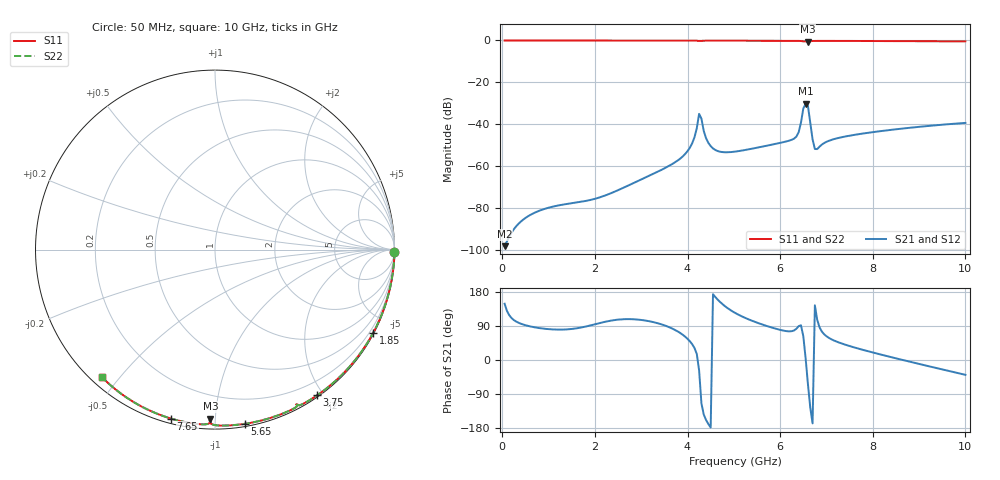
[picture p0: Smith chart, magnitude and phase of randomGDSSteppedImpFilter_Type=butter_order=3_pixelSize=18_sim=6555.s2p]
! freq	dB(S11)	phase(S11)	dB(S12)	phase(S12)
!  dB(S21)	phase(S21)	dB(S22)	phase(S22)
!S-par simulation data
#  GHz  S  DB  R 50
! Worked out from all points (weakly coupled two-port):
!   200 points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, 50 MHz to 10 GHz, reference 50 ohm
!   highest |S21| = -30.18 dB at 6.55 GHz (marker M1); lowest = -98.1 dB at 50 MHz (marker M2)
!   lowest |S11| = -0.5 dB at 6.6 GHz (marker M3), VSWR 33.19, Z = 2.93 - j48.6 ohm
!   |S11| at or under -10 dB: nowhere
!   |S22| runs from -0.5 to 0.0 dB; largest |S21 - S12| = 0
!   S11 on the Smith chart (normalised r, x): 50 MHz: open; 1.85 GHz: 0.04, -4.05; 3.75 GHz: 0.02, -1.92; 5.65 GHz: 0.02, -1.19; 7.65 GHz: 0.02, -0.77; 10 GHz: 0.03, -0.45
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0.05  -0.00 -0.8  -98.13 148.5  -98.13 148.5  -0.00 -0.8
1.75  -0.03 -26.3  -76.77 86.9  -76.77 86.9  -0.03 -26.3
1.85  -0.04 -27.8  -76.34 89.6  -76.34 89.6  -0.04 -27.8
3.4  -0.07 -50.1  -62.12 95.4  -62.12 95.4  -0.07 -50.1
3.75  -0.07 -55.0  -57.78 77.9  -57.78 77.9  -0.07 -55.0
4.1  -0.09 -59.9  -49.06 41.8  -49.06 41.8  -0.09 -59.9
4.2  -0.11 -61.6  -41.85 15.9  -41.85 15.9  -0.11 -61.6
4.25  -0.23 -62.4  -35.02 -27.4  -35.02 -27.4  -0.23 -62.4
4.4  -0.10 -63.5  -46.64 -158.3  -46.64 -158.3  -0.10 -63.5
4.5  -0.10 -65.0  -50.41 -178.2  -50.41 -178.2  -0.10 -65.0
5.05  -0.11 -72.4  -52.95 122.8  -52.95 122.8  -0.11 -72.4
5.65  -0.13 -80.3  -50.49 92.2  -50.49 92.2  -0.13 -80.3
6.35  -0.19 -89.6  -45.88 82.4  -45.88 82.4  -0.19 -89.7
6.55  -0.42 -91.8  -30.18 4.5  -30.18 4.5  -0.42 -91.7
6.6  -0.52 -91.5  -31.27 -63.6  -31.27 -63.6  -0.51 -91.5
6.7  -0.25 -92.2  -47.13 -167.2  -47.13 -167.2  -0.25 -92.2
6.75  -0.22 -93.1  -51.78 144.4  -51.78 144.4  -0.22 -93.1
6.8  -0.21 -93.8  -51.81 106.2  -51.81 106.2  -0.21 -93.9
7.05  -0.21 -97.2  -47.88 58.6  -47.88 58.6  -0.21 -97.2
7.65  -0.24 -104.6  -44.86 31.4  -44.86 31.4  -0.24 -104.6
8.35  -0.29 -112.8  -42.76 9.0  -42.76 9.0  -0.29 -112.8
10  -0.45 -131.8  -39.33 -39.1  -39.33 -39.1  -0.45 -131.8
